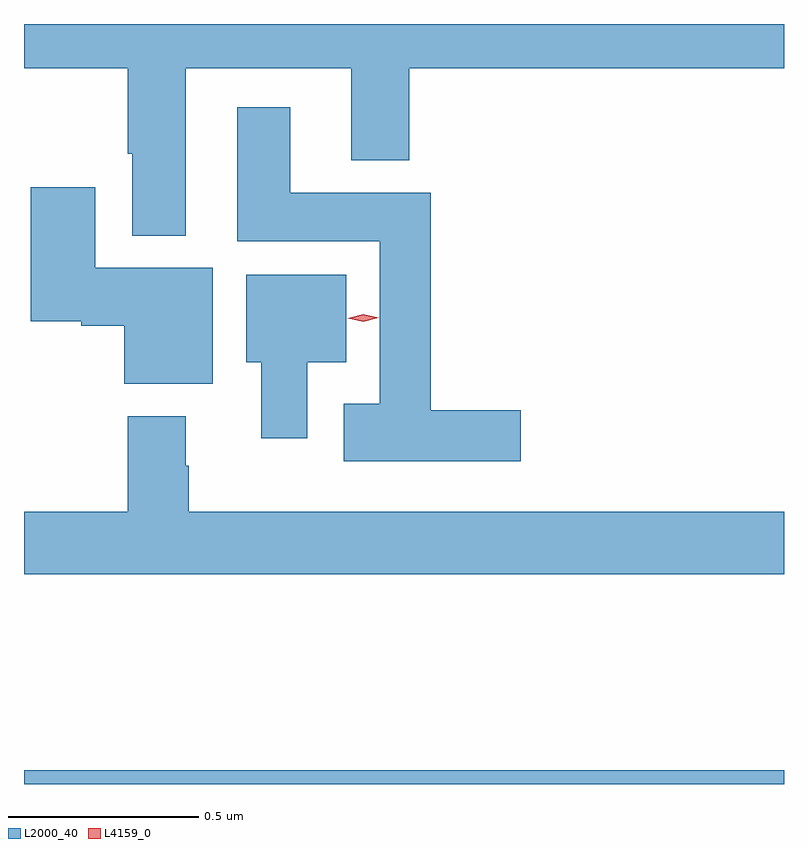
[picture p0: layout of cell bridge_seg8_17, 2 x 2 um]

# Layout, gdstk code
import gdstk
lib = gdstk.Library(unit=1e-6, precision=1e-09)
def R(c, l, rs):  # rectangles x0, y0, x1, y1
    for r in rs: c.add(gdstk.rectangle(r[:2], r[2:], *l))
def P(c, l, *ps):  # polygons
    for p in ps: c.add(gdstk.Polygon(p, *l))
L2000_40 = (2000, 40)
L4159_0 = (4159, 0)

bridge_seg8_17 = lib.new_cell('bridge_seg8_17')
R(bridge_seg8_17, L2000_40, [(903.686,1141.256,905.686,1141.292)])
P(bridge_seg8_17, L2000_40, [(904.111,1143.14),(904.547,1143.14),(904.547,1142.897),(904.7,1142.897),(904.7,1143.14),(905.686,1143.14),(905.686,1143.256),(903.686,1143.256),(903.686,1143.14),(903.959,1143.14),(903.959,1142.914),(903.971,1142.914),(903.971,1142.699),(904.111,1142.699)],
  [(904.993,1142.24),(904.757,1142.24),(904.757,1142.812),(904.387,1142.812),(904.387,1143.037),(904.247,1143.037),(904.247,1142.684),(904.622,1142.684),(904.622,1142.257),(904.527,1142.257),(904.527,1142.105),(904.993,1142.105)],
  [(904.183,1142.614),(903.874,1142.614),(903.874,1142.827),(903.704,1142.827),(903.704,1142.474),(903.837,1142.474),(903.837,1142.462),(903.95,1142.462),(903.95,1142.309),(904.183,1142.309)],
  [(904.432,1142.366),(904.534,1142.366),(904.534,1142.596),(904.271,1142.596),(904.271,1142.366),(904.31,1142.366),(904.31,1142.166),(904.432,1142.166)],
  [(905.686,1141.972),(904.119,1141.972),(904.119,1142.093),(904.111,1142.093),(904.111,1142.224),(903.959,1142.224),(903.959,1141.972),(903.686,1141.972),(903.686,1141.808),(905.686,1141.808)])
P(bridge_seg8_17, L4159_0, [(904.579,1142.472),(904.538,1142.482),(904.538,1142.482),(904.538,1142.482),(904.579,1142.492),(904.619,1142.483),(904.62,1142.483),(904.619,1142.483)])

lib.write_gds('bridge_seg8_17.gds')
